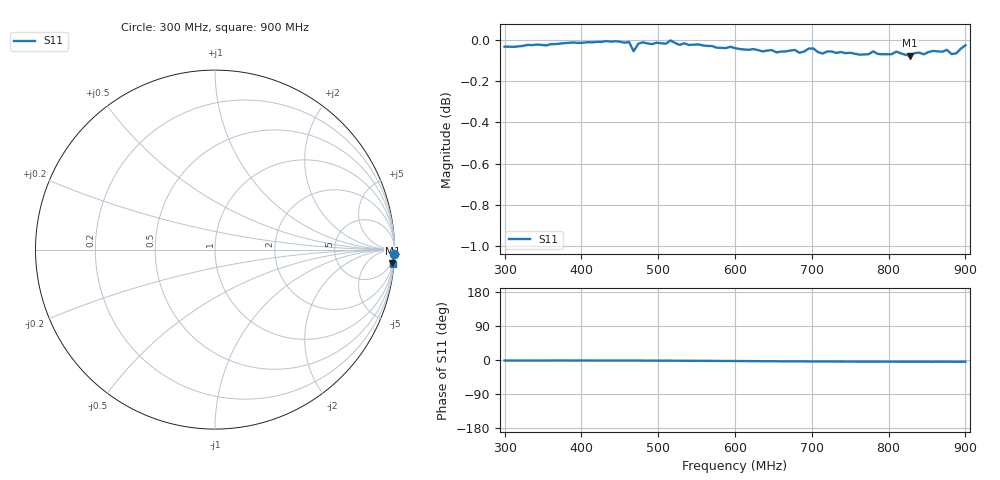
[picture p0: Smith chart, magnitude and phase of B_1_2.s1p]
# HZ S RI R 50
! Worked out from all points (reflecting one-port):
!   101 points, 300 MHz to 900 MHz, reference 50 ohm
!   lowest |S11| = -0.1 dB at 828 MHz (marker M1), VSWR 230.04, Z = 148 - j1.3e+03 ohm
!   phase of S11 starts at -1 deg and turns -3 deg over the sweep
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3e8  0.996 -0.025
3.78e8  0.998 -0.0233
4.5e8  0.9988 -0.0252
4.62e8  0.9986 -0.0268
4.68e8  0.9935 -0.0253
4.74e8  0.9976 -0.0267
4.8e8  0.9984 -0.0277
5.1e8  0.9975 -0.0308
5.16e8  0.9993 -0.032
5.28e8  0.9967 -0.0345
6e8  0.9944 -0.0468
6.54e8  0.9914 -0.0591
6.78e8  0.9924 -0.0638
6.84e8  0.991 -0.0629
7.02e8  0.9931 -0.0668
7.14e8  0.9902 -0.0674
7.5e8  0.9903 -0.0719
7.98e8  0.9893 -0.075
8.1e8  0.9907 -0.0749
8.22e8  0.9888 -0.0765
8.28e8  0.9885 -0.0753
8.34e8  0.9896 -0.0781
8.58e8  0.9907 -0.0805
8.64e8  0.9906 -0.0786
8.76e8  0.9915 -0.0786
8.82e8  0.989 -0.0797
8.94e8  0.9918 -0.0823
9e8  0.994 -0.0783
